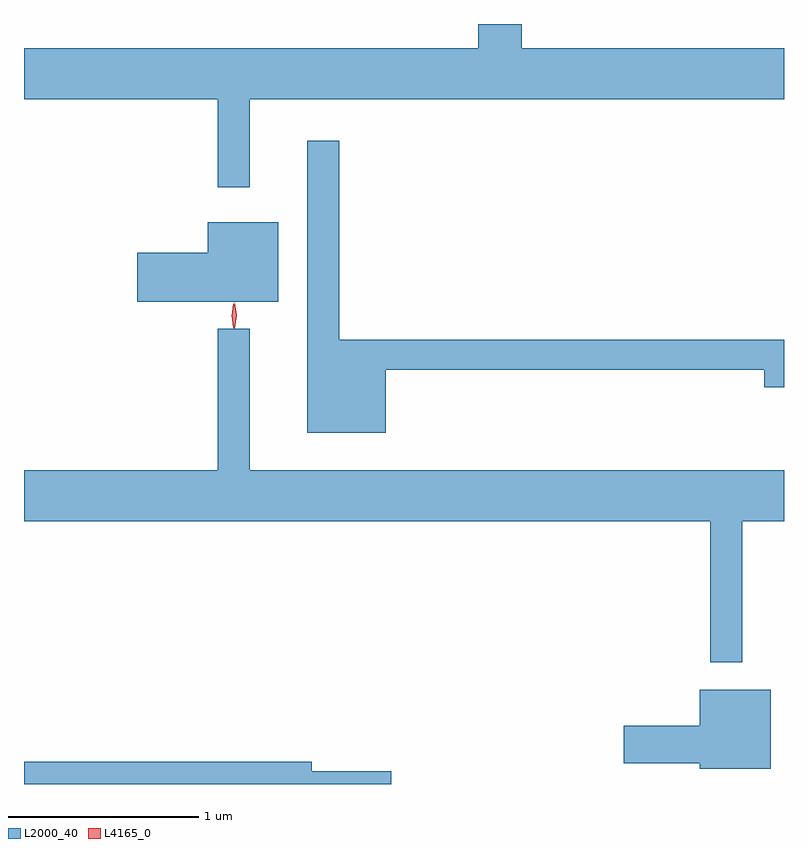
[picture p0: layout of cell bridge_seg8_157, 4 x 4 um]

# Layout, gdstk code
import gdstk
lib = gdstk.Library(unit=1e-6, precision=1e-09)
def P(c, l, *ps):  # polygons
    for p in ps: c.add(gdstk.Polygon(p, *l))
L2000_40 = (2000, 40)
L4165_0 = (4165, 0)

bridge_seg8_157 = lib.new_cell('bridge_seg8_157')
P(bridge_seg8_157, L2000_40, [(1415.799,1942.976),(1418.61,1942.976),(1418.61,1943.244),(1417.229,1943.244),(1417.229,1943.372),(1417.001,1943.372),(1417.001,1943.244),(1414.61,1943.244),(1414.61,1942.976),(1415.631,1942.976),(1415.631,1942.513),(1415.799,1942.513)],
  [(1416.514,1941.551),(1418.506,1941.551),(1418.506,1941.461),(1418.61,1941.461),(1418.61,1941.709),(1416.269,1941.709),(1416.269,1942.758),(1416.101,1942.758),(1416.101,1941.221),(1416.514,1941.221)],
  [(1415.949,1942.329),(1415.576,1942.329),(1415.576,1942.169),(1415.206,1942.169),(1415.206,1941.911),(1415.949,1941.911)],
  [(1418.389,1940.756),(1418.61,1940.756),(1418.61,1941.024),(1415.799,1941.024),(1415.799,1941.768),(1415.631,1941.768),(1415.631,1941.024),(1414.61,1941.024),(1414.61,1940.756),(1418.221,1940.756),(1418.221,1940.013),(1418.389,1940.013)],
  [(1418.539,1939.869),(1418.166,1939.869),(1418.166,1939.679),(1417.766,1939.679),(1417.766,1939.481),(1418.166,1939.481),(1418.166,1939.451),(1418.539,1939.451)],
  [(1416.544,1939.439),(1416.124,1939.439),(1416.124,1939.489),(1414.61,1939.489),(1414.61,1939.372),(1416.544,1939.372)])
P(bridge_seg8_157, L4165_0, [(1415.717,1941.77),(1415.709,1941.838),(1415.719,1941.905),(1415.719,1941.906),(1415.72,1941.905),(1415.729,1941.838),(1415.718,1941.77),(1415.718,1941.77)],
  [(1415.712,1941.773),(1415.703,1941.836),(1415.712,1941.899),(1415.713,1941.9),(1415.713,1941.899),(1415.723,1941.836),(1415.713,1941.773),(1415.713,1941.773)])

lib.write_gds('bridge_seg8_157.gds')
